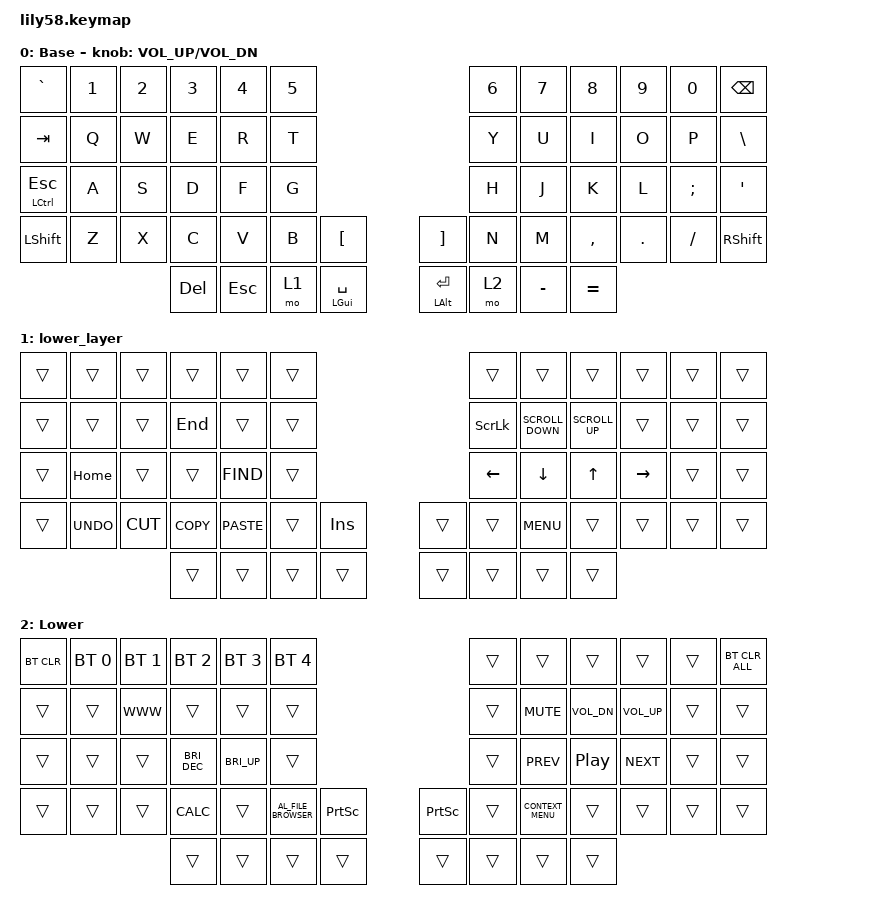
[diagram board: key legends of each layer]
/*
 * Copyright (c) 2020 The ZMK Contributors
 *
 * SPDX-License-Identifier: MIT
 */

#include <behaviors.dtsi>
#include <dt-bindings/zmk/bt.h>
#include <dt-bindings/zmk/keys.h>

/ {
    keymap {
        compatible = "zmk,keymap";

        default_layer {
            // ------------------------------------------------------------------------------------------------------------
            // |  ESC  |  1  |  2  |  3   |  4   |  5   |                   |  6   |  7    |  8    |  9   |   0   |   `   |
            // |  TAB  |  Q  |  W  |  E   |  R   |  T   |                   |  Y   |  U    |  I    |  O   |   P   |   -   |
            // |  CTRL |  A  |  S  |  D   |  F   |  G   |                   |  H   |  J    |  K    |  L   |   ;   |   '   |
            // | SHIFT |  Z  |  X  |  C   |  V   |  B   |   "["  |  |  "]"  |  N   |  M    |  ,    |  .   |   /   | SHIFT |
            //                     | ALT  | GUI  | LOWER|  SPACE |  | ENTER | RAISE| BSPC  | GUI   |

            display-name = "Base";
            bindings = <
&kp GRAVE         &kp N1  &kp N2  &kp N3      &kp N4      &kp N5                                          &kp N6  &kp N7     &kp N8     &kp N9   &kp N0    &kp BACKSPACE
&kp TAB           &kp Q   &kp W   &kp E       &kp R       &kp T                                           &kp Y   &kp U      &kp I      &kp O    &kp P     &kp BACKSLASH
&mt LCTRL ESCAPE  &kp A   &kp S   &kp D       &kp F       &kp G                                           &kp H   &kp J      &kp K      &kp L    &kp SEMI  &kp SQT
&kp LSHFT         &kp Z   &kp X   &kp C       &kp V       &kp B   &kp LBKT              &kp RBKT          &kp N   &kp M      &kp COMMA  &kp DOT  &kp FSLH  &kp RSHFT
                                  &kp DELETE  &kp ESCAPE  &mo 1   &mt LEFT_GUI SPACE    &mt LEFT_ALT RET  &mo 2   &kp MINUS  &kp EQUAL
            >;

            sensor-bindings = <&inc_dec_kp C_VOL_UP C_VOL_DN>;
        };

        lower_layer {
            bindings = <
&trans  &trans      &trans     &trans      &trans       &trans                        &trans          &trans             &trans           &trans     &trans  &trans
&trans  &trans      &trans     &kp END     &trans       &trans                        &kp SCROLLLOCK  &kp K_SCROLL_DOWN  &kp K_SCROLL_UP  &trans     &trans  &trans
&trans  &kp HOME    &trans     &trans      &kp K_FIND   &trans                        &kp LEFT        &kp DOWN           &kp UP           &kp RIGHT  &trans  &trans
&trans  &kp K_UNDO  &kp K_CUT  &kp K_COPY  &kp K_PASTE  &trans  &kp INSERT    &trans  &trans          &kp C_MENU         &trans           &trans     &trans  &trans
                               &trans      &trans       &trans  &trans        &trans  &trans          &trans             &trans
            >;
        };

        raise_layer {
            // ------------------------------------------------------------------------------------------------------------
            // | BTCLR | BT1 | BT2 |  BT3 |  BT4 |  BT5 |                   |      |       |       |      |       |       |
            // |  F1   |  F2 |  F3 |  F4  |  F5  |  F6  |                   |  F7  |  F8   |  F9   |  F10 |  F11  |  F12  |
            // |   `   |  !  |  @  |  #   |  $   |  %   |                   |  ^   |  &    |  *    |  (   |   )   |   ~   |
            // |       |     |     |      |      |      |        |  |       |      |  _    |  +    |  {   |   }   |  "|"  |
            //                     |      |      |      |        |  |       |      |       |       |

            display-name = "Lower";
            bindings = <
&bt BT_CLR  &bt BT_SEL 0  &bt BT_SEL 1  &bt BT_SEL 2          &bt BT_SEL 3  &bt BT_SEL 4                                               &trans  &trans              &trans            &trans           &trans  &bt BT_CLR_ALL
&trans      &trans        &kp K_WWW     &trans                &trans        &trans                                                     &trans  &kp C_MUTE          &kp C_VOL_DN      &kp C_VOLUME_UP  &trans  &trans
&trans      &trans        &trans        &kp C_BRIGHTNESS_DEC  &kp C_BRI_UP  &trans                                                     &trans  &kp C_PREV          &kp C_PLAY_PAUSE  &kp C_NEXT       &trans  &trans
&trans      &trans        &trans        &kp K_CALC            &trans        &kp C_AL_FILE_BROWSER  &kp PRINTSCREEN    &kp PRINTSCREEN  &trans  &kp K_CONTEXT_MENU  &trans            &trans           &trans  &trans
                                        &trans                &trans        &trans                 &trans             &trans           &trans  &trans              &trans
            >;
        };
    };
};
